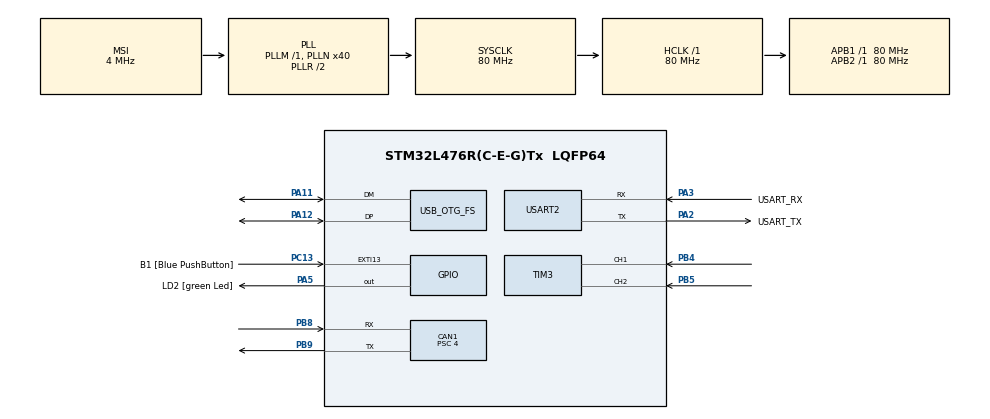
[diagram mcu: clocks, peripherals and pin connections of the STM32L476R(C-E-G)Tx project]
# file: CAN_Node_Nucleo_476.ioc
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CAN1.ABOM=DISABLE
CAN1.AWUM=DISABLE
CAN1.BS1=CAN_BS1_14TQ
CAN1.BS2=CAN_BS2_5TQ
CAN1.CalculateBaudRate=1000000
CAN1.CalculateTimeBit=1000
CAN1.CalculateTimeQuantum=50.0
CAN1.NART=ENABLE
CAN1.Prescaler=4
CAN1.RFLM=DISABLE
CAN1.SJW=CAN_SJW_1TQ
Mcu.Family=STM32L4
Mcu.Name=STM32L476R(C-E-G)Tx
Mcu.Package=LQFP64
NVIC.CAN1_RX0_IRQn=true\:0\:0\:false\:false\:true\:true\:true\:true
NVIC.PriorityGroup=NVIC_PRIORITYGROUP_4
NVIC.TIM6_DAC_IRQn=true\:0\:0\:false\:false\:true\:true\:true\:true
PA11.Mode=Device_Only
PA11.Signal=USB_OTG_FS_DM
PA12.Mode=Device_Only
PA12.Signal=USB_OTG_FS_DP
PA13\ (JTMS-SWDIO).GPIO_Label=TMS
PA13\ (JTMS-SWDIO).Mode=Serial_Wire
PA13\ (JTMS-SWDIO).Signal=SYS_JTMS-SWDIO
PA14\ (JTCK-SWCLK).GPIO_Label=TCK
PA14\ (JTCK-SWCLK).Mode=Serial_Wire
PA14\ (JTCK-SWCLK).Signal=SYS_JTCK-SWCLK
PA2.GPIO_Label=USART_TX
PA2.GPIO_Mode=GPIO_MODE_AF_PP
PA2.GPIO_PuPd=GPIO_NOPULL
PA2.GPIO_Speed=GPIO_SPEED_FREQ_VERY_HIGH
PA2.Mode=Asynchronous
PA2.Signal=USART2_TX
PA3.GPIO_Label=USART_RX
PA3.GPIO_Mode=GPIO_MODE_AF_PP
PA3.GPIO_PuPd=GPIO_NOPULL
PA3.GPIO_Speed=GPIO_SPEED_FREQ_VERY_HIGH
PA3.Mode=Asynchronous
PA3.Signal=USART2_RX
PA5.GPIO_Label=LD2 [green Led]
PA5.GPIO_ModeDefaultOutputPP=GPIO_MODE_OUTPUT_PP
PA5.GPIO_PuPd=GPIO_NOPULL
PA5.GPIO_Speed=GPIO_SPEED_FREQ_LOW
PA5.Signal=GPIO_Output
PB3\ (JTDO-TRACESWO).GPIO_Label=SWO
PB3\ (JTDO-TRACESWO).Signal=SYS_JTDO-SWO
PB4\ (NJTRST).Signal=S_TIM3_CH1
PB5.Signal=S_TIM3_CH2
PB8.Mode=CAN_Activate
PB8.Signal=CAN1_RX
PB9.Mode=CAN_Activate
PB9.Signal=CAN1_TX
PC13.GPIO_Label=B1 [Blue PushButton]
PC13.GPIO_ModeDefaultEXTI=GPIO_MODE_IT_FALLING
PC13.GPIO_PuPd=GPIO_NOPULL
PC13.Signal=GPXTI13
PC14-OSC32_IN\ (PC14).Mode=LSE-External-Oscillator
PC14-OSC32_IN\ (PC14).Signal=RCC_OSC32_IN
PC15-OSC32_OUT\ (PC15).Mode=LSE-External-Oscillator
PC15-OSC32_OUT\ (PC15).Signal=RCC_OSC32_OUT
PH0-OSC_IN\ (PH0).Signal=RCC_OSC_IN
PH1-OSC_OUT\ (PH1).Signal=RCC_OSC_OUT
ProjectManager.HeapSize=0x200
ProjectManager.StackSize=0x400
ProjectManager.TargetToolchain=STM32CubeIDE
RCC.ADCFreq_Value=48000000
RCC.AHBFreq_Value=80000000
RCC.APB1Freq_Value=80000000
RCC.APB1TimFreq_Value=80000000
RCC.APB2Freq_Value=80000000
RCC.APB2TimFreq_Value=80000000
RCC.CortexFreq_Value=80000000
RCC.HCLKFreq_Value=80000000
RCC.HSE_VALUE=8000000
RCC.HSI_VALUE=16000000
RCC.MSI_VALUE=4000000
RCC.PLLN=40
RCC.PLLSAI1N=24
RCC.PREFETCH_ENABLE=1
RCC.SYSCLKFreq_VALUE=80000000
RCC.SYSCLKSource=RCC_SYSCLKSOURCE_PLLCLK
RCC.USBFreq_Value=48000000
RCC.VCOOutputFreq_Value=160000000
SH.S_TIM3_CH1.0=TIM3_CH1,Encoder_Interface
SH.S_TIM3_CH2.0=TIM3_CH2,Encoder_Interface
TIM3.EncoderMode=TIM_ENCODERMODE_TI12
TIM6.Period=999
TIM6.Prescaler=79
USART2.VirtualMode-Asynchronous=VM_ASYNC
USB_OTG_FS.VirtualMode=Device_Only
VP_TIM6_VS_ClockSourceINT.Mode=Enable_Timer
board=NUCLEO-L476RG

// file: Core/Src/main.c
/* USER CODE BEGIN Header */
/**
  ******************************************************************************
  * @file           : main.c
  * @brief          : Main program body
  ******************************************************************************
  * @attention
  *
  * Copyright (c) 2022 STMicroelectronics.
  * All rights reserved.
  *
  * This software is licensed under terms that can be found in the LICENSE file
  * in the root directory of this software component.
  * If no LICENSE file comes with this software, it is provided AS-IS.
  *
  ******************************************************************************
  */
/* USER CODE END Header */
#include "main.h"

/* USER CODE BEGIN Includes */
#include "stdbool.h"
#include "stdio.h"
/* USER CODE END Includes */

/* USER CODE BEGIN PTD */
typedef enum
{
    CAN_CMD_ZERO    = 0b000,
    CAN_CMD_NOP1    = 0b001,
    CAN_CMD_NOP2    = 0b010,
    CAN_CMD_NOP3    = 0b011,
    CAN_CMD_NOP4    = 0b100,
    CAN_CMD_READ    = 0b101,
    CAN_CMD_NOP6    = 0b110,
    CAN_CMD_NOP7    = 0b111
} CAN_CMD_t;
/* USER CODE END PTD */

 CAN_HandleTypeDef hcan1;

TIM_HandleTypeDef htim3;
TIM_HandleTypeDef htim6;

UART_HandleTypeDef huart2;

PCD_HandleTypeDef hpcd_USB_OTG_FS;

/* USER CODE BEGIN PV */
volatile uint32_t           edge_stamp = 0;

uint32_t                    msg_count = 0;
volatile bool               msg_recvd = false;

CAN_RxHeaderTypeDef         CAN_rx_hdr;

union CAN_rx_packet {
    uint8_t                     data[1];
    struct __attribute__ ((packed)) CAN_rx_values {
        CAN_CMD_t cmd : 3;
    } values;
} CAN_rx_pkt;

const CAN_TxHeaderTypeDef   CAN_tx_hdr =
{
        .IDE    = CAN_ID_STD,
        .StdId  = 0x0003,
        .RTR    = CAN_RTR_DATA,
        .DLC    = 6,
};
union CAN_tx_packet {
    uint8_t                     data[6];
    struct __attribute__ ((packed)) CAN_tx_values {
        int32_t position;
        int16_t velocity;
    } values;
} CAN_tx_pkt;

uint32_t                    CAN_tx_mailbox;

volatile int32_t position = 0;
volatile uint16_t last_count;
volatile int32_t delta;

/* USER CODE END PV */

void SystemClock_Config(void);
static void MX_GPIO_Init(void);
static void MX_USART2_UART_Init(void);
static void MX_CAN1_Init(void);
static void MX_USB_OTG_FS_PCD_Init(void);
static void MX_TIM6_Init(void);
static void MX_TIM3_Init(void);

int main(void)
{

  /* MCU Configuration--------------------------------------------------------*/

  /* Reset of all peripherals, Initializes the Flash interface and the Systick. */
  HAL_Init();

  /* Configure the system clock */
  SystemClock_Config();

  /* Initialize all configured peripherals */
  MX_GPIO_Init();
  MX_USART2_UART_Init();
  MX_CAN1_Init();
  MX_USB_OTG_FS_PCD_Init();
  MX_TIM6_Init();
  MX_TIM3_Init();
  /* USER CODE BEGIN 2 */

  char msg_buf[64];
  uint16_t msg_len = sprintf(msg_buf,"Bus Configured\r\n");
  HAL_UART_Transmit(&huart2,(uint8_t*) msg_buf, msg_len, HAL_MAX_DELAY);

  /* USER CODE END 2 */

  /* Infinite loop */
  while (1)
  {

    /* USER CODE BEGIN 3 */

//      msg_len = sprintf(msg_buf,"Edge: %lu\r\n", edge_stamp);
//      HAL_UART_Transmit(&huart2,(uint8_t*) msg_buf, msg_len, HAL_MAX_DELAY);

      if (msg_recvd)
      {
          CAN_tx_pkt.values.position = position;
          CAN_tx_pkt.values.velocity = delta;

          HAL_CAN_AddTxMessage(&hcan1, &CAN_tx_hdr, CAN_tx_pkt.data, &CAN_tx_mailbox);

          msg_count++;
          msg_recvd = false;

          // Do something when a message is received.
          msg_len = sprintf(msg_buf,"MSG #%lu recvd: val=%u\r\n", msg_count, CAN_rx_pkt.values.cmd);
          HAL_UART_Transmit(&huart2,(uint8_t*) msg_buf, msg_len, HAL_MAX_DELAY);
      }
  }
  /* USER CODE END 3 */
}

void SystemClock_Config(void)
{
  RCC_OscInitTypeDef RCC_OscInitStruct = {0};
  RCC_ClkInitTypeDef RCC_ClkInitStruct = {0};

  /** Configure the main internal regulator output voltage
  */
  if (HAL_PWREx_ControlVoltageScaling(PWR_REGULATOR_VOLTAGE_SCALE1) != HAL_OK)
  {
    Error_Handler();
  }

  /** Configure LSE Drive Capability
  */
  HAL_PWR_EnableBkUpAccess();
  __HAL_RCC_LSEDRIVE_CONFIG(RCC_LSEDRIVE_LOW);

  /** Initializes the RCC Oscillators according to the specified parameters
  * in the RCC_OscInitTypeDef structure.
  */
  RCC_OscInitStruct.OscillatorType = RCC_OSCILLATORTYPE_LSE|RCC_OSCILLATORTYPE_MSI;
  RCC_OscInitStruct.LSEState = RCC_LSE_ON;
  RCC_OscInitStruct.MSIState = RCC_MSI_ON;
  RCC_OscInitStruct.MSICalibrationValue = 0;
  RCC_OscInitStruct.MSIClockRange = RCC_MSIRANGE_6;
  RCC_OscInitStruct.PLL.PLLState = RCC_PLL_ON;
  RCC_OscInitStruct.PLL.PLLSource = RCC_PLLSOURCE_MSI;
  RCC_OscInitStruct.PLL.PLLM = 1;
  RCC_OscInitStruct.PLL.PLLN = 40;
  RCC_OscInitStruct.PLL.PLLP = RCC_PLLP_DIV7;
  RCC_OscInitStruct.PLL.PLLQ = RCC_PLLQ_DIV2;
  RCC_OscInitStruct.PLL.PLLR = RCC_PLLR_DIV2;
  if (HAL_RCC_OscConfig(&RCC_OscInitStruct) != HAL_OK)
  {
    Error_Handler();
  }

  /** Initializes the CPU, AHB and APB buses clocks
  */
  RCC_ClkInitStruct.ClockType = RCC_CLOCKTYPE_HCLK|RCC_CLOCKTYPE_SYSCLK
                              |RCC_CLOCKTYPE_PCLK1|RCC_CLOCKTYPE_PCLK2;
  RCC_ClkInitStruct.SYSCLKSource = RCC_SYSCLKSOURCE_PLLCLK;
  RCC_ClkInitStruct.AHBCLKDivider = RCC_SYSCLK_DIV1;
  RCC_ClkInitStruct.APB1CLKDivider = RCC_HCLK_DIV1;
  RCC_ClkInitStruct.APB2CLKDivider = RCC_HCLK_DIV1;

  if (HAL_RCC_ClockConfig(&RCC_ClkInitStruct, FLASH_LATENCY_4) != HAL_OK)
  {
    Error_Handler();
  }

  /** Enable MSI Auto calibration
  */
  HAL_RCCEx_EnableMSIPLLMode();
}

static void MX_CAN1_Init(void)
{

  hcan1.Instance = CAN1;
  hcan1.Init.Prescaler = 4;
  hcan1.Init.Mode = CAN_MODE_NORMAL;
  hcan1.Init.SyncJumpWidth = CAN_SJW_1TQ;
  hcan1.Init.TimeSeg1 = CAN_BS1_14TQ;
  hcan1.Init.TimeSeg2 = CAN_BS2_5TQ;
  hcan1.Init.TimeTriggeredMode = DISABLE;
  hcan1.Init.AutoBusOff = DISABLE;
  hcan1.Init.AutoWakeUp = DISABLE;
  hcan1.Init.AutoRetransmission = ENABLE;
  hcan1.Init.ReceiveFifoLocked = DISABLE;
  hcan1.Init.TransmitFifoPriority = DISABLE;
  if (HAL_CAN_Init(&hcan1) != HAL_OK)
  {
    Error_Handler();
  }
  /* USER CODE BEGIN CAN1_Init 2 */

  // Set filter 0 for LIST16 with the addresses [4 6 7 8] using fifo 0
  CAN_FilterTypeDef hfilt = {
          .FilterIdHigh = 0x0003<<5,
          .FilterIdLow = 0x0005<<5,
          .FilterMaskIdHigh = 0x0007<<5,
          .FilterMaskIdLow = 0x0008<<5,
          .FilterFIFOAssignment = CAN_FILTER_FIFO0, //
          .FilterBank = 0,
          .FilterMode = CAN_FILTERMODE_IDLIST,
          .FilterScale = CAN_FILTERSCALE_16BIT,
          .FilterActivation = CAN_FILTER_ENABLE,
          .SlaveStartFilterBank = 14
  };

  if(HAL_CAN_ConfigFilter(&hcan1, &hfilt) != HAL_OK)
  {
    Error_Handler();
  }

  if(HAL_CAN_Start(&hcan1) != HAL_OK)
  {
    Error_Handler();
  }

  if(HAL_CAN_ActivateNotification(&hcan1, CAN_IT_RX_FIFO0_MSG_PENDING) != HAL_OK)
  {
    Error_Handler();
  }

  /* USER CODE END CAN1_Init 2 */

}

static void MX_TIM3_Init(void)
{

  TIM_Encoder_InitTypeDef sConfig = {0};
  TIM_MasterConfigTypeDef sMasterConfig = {0};

  htim3.Instance = TIM3;
  htim3.Init.Prescaler = 0;
  htim3.Init.CounterMode = TIM_COUNTERMODE_UP;
  htim3.Init.Period = 65535;
  htim3.Init.ClockDivision = TIM_CLOCKDIVISION_DIV1;
  htim3.Init.AutoReloadPreload = TIM_AUTORELOAD_PRELOAD_DISABLE;
  sConfig.EncoderMode = TIM_ENCODERMODE_TI12;
  sConfig.IC1Polarity = TIM_ICPOLARITY_RISING;
  sConfig.IC1Selection = TIM_ICSELECTION_DIRECTTI;
  sConfig.IC1Prescaler = TIM_ICPSC_DIV1;
  sConfig.IC1Filter = 0;
  sConfig.IC2Polarity = TIM_ICPOLARITY_RISING;
  sConfig.IC2Selection = TIM_ICSELECTION_DIRECTTI;
  sConfig.IC2Prescaler = TIM_ICPSC_DIV1;
  sConfig.IC2Filter = 0;
  if (HAL_TIM_Encoder_Init(&htim3, &sConfig) != HAL_OK)
  {
    Error_Handler();
  }
  sMasterConfig.MasterOutputTrigger = TIM_TRGO_RESET;
  sMasterConfig.MasterSlaveMode = TIM_MASTERSLAVEMODE_DISABLE;
  if (HAL_TIMEx_MasterConfigSynchronization(&htim3, &sMasterConfig) != HAL_OK)
  {
    Error_Handler();
  }
  /* USER CODE BEGIN TIM3_Init 2 */
  last_count = TIM3->CNT;

  if (HAL_TIM_Encoder_Start(&htim3, TIM_CHANNEL_ALL) != HAL_OK)
  {
    Error_Handler();
  }
  /* USER CODE END TIM3_Init 2 */

}

static void MX_TIM6_Init(void)
{

  TIM_MasterConfigTypeDef sMasterConfig = {0};

  htim6.Instance = TIM6;
  htim6.Init.Prescaler = 79;
  htim6.Init.CounterMode = TIM_COUNTERMODE_UP;
  htim6.Init.Period = 999;
  htim6.Init.AutoReloadPreload = TIM_AUTORELOAD_PRELOAD_DISABLE;
  if (HAL_TIM_Base_Init(&htim6) != HAL_OK)
  {
    Error_Handler();
  }
  sMasterConfig.MasterOutputTrigger = TIM_TRGO_RESET;
  sMasterConfig.MasterSlaveMode = TIM_MASTERSLAVEMODE_DISABLE;
  if (HAL_TIMEx_MasterConfigSynchronization(&htim6, &sMasterConfig) != HAL_OK)
  {
    Error_Handler();
  }
  /* USER CODE BEGIN TIM6_Init 2 */

  if (HAL_TIM_Base_Start_IT(&htim6) != HAL_OK)
  {
    Error_Handler();
  }

  /* USER CODE END TIM6_Init 2 */

}

static void MX_USART2_UART_Init(void)
{

  huart2.Instance = USART2;
  huart2.Init.BaudRate = 115200;
  huart2.Init.WordLength = UART_WORDLENGTH_8B;
  huart2.Init.StopBits = UART_STOPBITS_1;
  huart2.Init.Parity = UART_PARITY_NONE;
  huart2.Init.Mode = UART_MODE_TX_RX;
  huart2.Init.HwFlowCtl = UART_HWCONTROL_NONE;
  huart2.Init.OverSampling = UART_OVERSAMPLING_16;
  huart2.Init.OneBitSampling = UART_ONE_BIT_SAMPLE_DISABLE;
  huart2.AdvancedInit.AdvFeatureInit = UART_ADVFEATURE_NO_INIT;
  if (HAL_UART_Init(&huart2) != HAL_OK)
  {
    Error_Handler();
  }

}

static void MX_USB_OTG_FS_PCD_Init(void)
{

  hpcd_USB_OTG_FS.Instance = USB_OTG_FS;
  hpcd_USB_OTG_FS.Init.dev_endpoints = 6;
  hpcd_USB_OTG_FS.Init.speed = PCD_SPEED_FULL;
  hpcd_USB_OTG_FS.Init.phy_itface = PCD_PHY_EMBEDDED;
  hpcd_USB_OTG_FS.Init.Sof_enable = DISABLE;
  hpcd_USB_OTG_FS.Init.low_power_enable = DISABLE;
  hpcd_USB_OTG_FS.Init.lpm_enable = DISABLE;
  hpcd_USB_OTG_FS.Init.battery_charging_enable = DISABLE;
  hpcd_USB_OTG_FS.Init.use_dedicated_ep1 = DISABLE;
  hpcd_USB_OTG_FS.Init.vbus_sensing_enable = DISABLE;
  if (HAL_PCD_Init(&hpcd_USB_OTG_FS) != HAL_OK)
  {
    Error_Handler();
  }

}

static void MX_GPIO_Init(void)
{
  GPIO_InitTypeDef GPIO_InitStruct = {0};

  /* GPIO Ports Clock Enable */
  __HAL_RCC_GPIOC_CLK_ENABLE();
  __HAL_RCC_GPIOH_CLK_ENABLE();
  __HAL_RCC_GPIOA_CLK_ENABLE();
  __HAL_RCC_GPIOB_CLK_ENABLE();

  /*Configure GPIO pin Output Level */
  HAL_GPIO_WritePin(LD2_GPIO_Port, LD2_Pin, GPIO_PIN_RESET);

  /*Configure GPIO pin : B1_Pin */
  GPIO_InitStruct.Pin = B1_Pin;
  GPIO_InitStruct.Mode = GPIO_MODE_IT_FALLING;
  GPIO_InitStruct.Pull = GPIO_NOPULL;
  HAL_GPIO_Init(B1_GPIO_Port, &GPIO_InitStruct);

  /*Configure GPIO pin : LD2_Pin */
  GPIO_InitStruct.Pin = LD2_Pin;
  GPIO_InitStruct.Mode = GPIO_MODE_OUTPUT_PP;
  GPIO_InitStruct.Pull = GPIO_NOPULL;
  GPIO_InitStruct.Speed = GPIO_SPEED_FREQ_LOW;
  HAL_GPIO_Init(LD2_GPIO_Port, &GPIO_InitStruct);

}

/* USER CODE BEGIN 4 */

/**
  * @brief  Rx FIFO 0 message pending callback.
  * @param  hcan pointer to a CAN_HandleTypeDef structure that contains
  *         the configuration information for the specified CAN.
  * @retval None
  */
void HAL_CAN_RxFifo0MsgPendingCallback(CAN_HandleTypeDef* hCAN)
{
//    HAL_CAN_GetRxMessage(hCAN, CAN_FILTER_FIFO0, &CAN_rx_hdr, CAN_rx_data);
    HAL_CAN_GetRxMessage(hCAN, CAN_FILTER_FIFO0, &CAN_rx_hdr, CAN_rx_pkt.data);

    switch (CAN_rx_pkt.values.cmd)
    {
    case CAN_CMD_ZERO:
        last_count = TIM8->CNT;
        position = 0;
        delta = 0;
        // Intentional fall through
    case CAN_CMD_READ:
        msg_recvd = true;
        // Intentional fall through
    case CAN_CMD_NOP1:
    case CAN_CMD_NOP2:
    case CAN_CMD_NOP3:
    case CAN_CMD_NOP4:
    case CAN_CMD_NOP6:
    case CAN_CMD_NOP7:
        break;
    }

}

/**
  * @brief  Period elapsed callback in non-blocking mode
  * @param  htim TIM handle
  * @retval None
  */
void HAL_TIM_PeriodElapsedCallback(TIM_HandleTypeDef *htim)
{
    if(htim == &htim6)
    {
        uint16_t count = TIM3->CNT;
        delta = (int16_t) (last_count - count);
        last_count = count;
        position += delta;
    }
}

/**
  * @brief  Input Capture callback in non-blocking mode
  * @param  htim TIM IC handle
  * @retval None
  */
void HAL_TIM_IC_CaptureCallback(TIM_HandleTypeDef *htim)
{
//    if (htim == &htim5)
//        {
//            edge_stamp = htim5.Instance->CCR1;
//        }
}

/* USER CODE END 4 */

void Error_Handler(void)
{
  __disable_irq();
  while (1)
  {
  }
}
